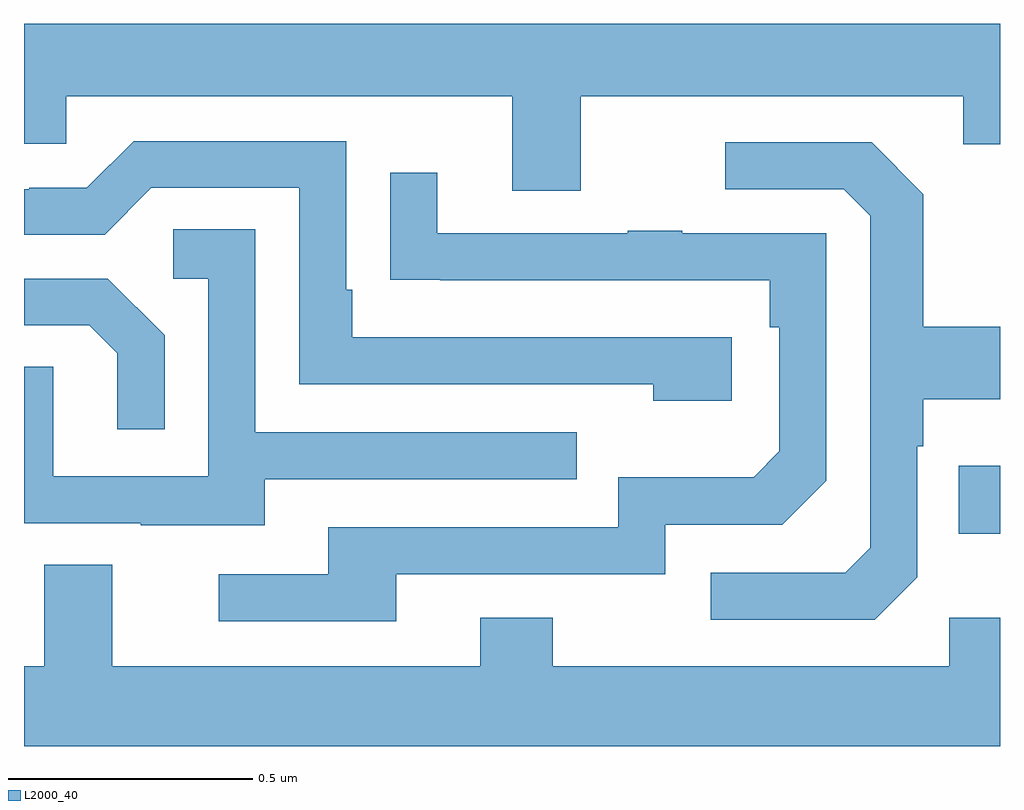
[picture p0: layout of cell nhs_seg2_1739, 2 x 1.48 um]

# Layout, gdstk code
import gdstk
lib = gdstk.Library(unit=1e-6, precision=1e-09)
def R(c, l, rs):  # rectangles x0, y0, x1, y1
    for r in rs: c.add(gdstk.rectangle(r[:2], r[2:], *l))
def P(c, l, *ps):  # polygons
    for p in ps: c.add(gdstk.Polygon(p, *l))
L2000_40 = (2000, 40)

nhs_seg2_1739 = lib.new_cell('nhs_seg2_1739')
R(nhs_seg2_1739, L2000_40, [(133.915,630.755,134,630.895)])
P(nhs_seg2_1739, L2000_40, [(132,631.554),(132.087,631.554),(132.087,631.652),(133.001,631.652),(133.001,631.458),(133.141,631.458),(133.141,631.652),(133.925,631.652),(133.925,631.553),(134,631.553),(134,631.8),(132,631.8)],
  [(133.45,631.158),(132.673,631.158),(132.673,631.255),(132.66,631.255),(132.66,631.56),(132.225,631.56),(132.129,631.464),(132.011,631.464),(132.011,631.461),(132,631.461),(132,631.368),(132.165,631.368),(132.261,631.464),(132.564,631.464),(132.564,631.062),(133.289,631.062),(133.289,631.028),(133.45,631.028)],
  [(133.83,630.666),(133.83,630.935),(133.843,630.935),(133.843,631.031),(134,631.031),(134,631.179),(133.843,631.179),(133.843,631.451),(133.737,631.557),(133.437,631.557),(133.437,631.461),(133.68,631.461),(133.734,631.407),(133.734,630.726),(133.683,630.675),(133.407,630.675),(133.407,630.579),(133.743,630.579)],
  [(132.763,630.672),(133.314,630.672),(133.314,630.774),(133.554,630.774),(133.644,630.864),(133.644,631.371),(133.349,631.371),(133.349,631.376),(133.237,631.376),(133.237,631.371),(132.847,631.371),(132.847,631.495),(132.751,631.495),(132.751,631.276),(132.853,631.276),(132.853,631.275),(133.528,631.275),(133.528,631.178),(133.548,631.178),(133.548,630.924),(133.495,630.871),(133.218,630.871),(133.218,630.768),(132.623,630.768),(132.623,630.672),(132.399,630.672),(132.399,630.576),(132.763,630.576)],
  [(132.493,630.867),(133.133,630.867),(133.133,630.963),(132.474,630.963),(132.474,631.379),(132.306,631.379),(132.306,631.278),(132.378,631.278),(132.378,630.873),(132.06,630.873),(132.06,631.097),(132,631.097),(132,630.777),(132.239,630.777),(132.239,630.773),(132.493,630.773)],
  [(132.288,631.162),(132.172,631.278),(132,631.278),(132,631.182),(132.134,631.182),(132.191,631.125),(132.191,630.969),(132.288,630.969)],
  [(134,630.583),(133.896,630.583),(133.896,630.484),(133.083,630.484),(133.083,630.583),(132.935,630.583),(132.935,630.484),(132.181,630.484),(132.181,630.692),(132.041,630.692),(132.041,630.484),(132,630.484),(132,630.32),(134,630.32)])

lib.write_gds('nhs_seg2_1739.gds')
